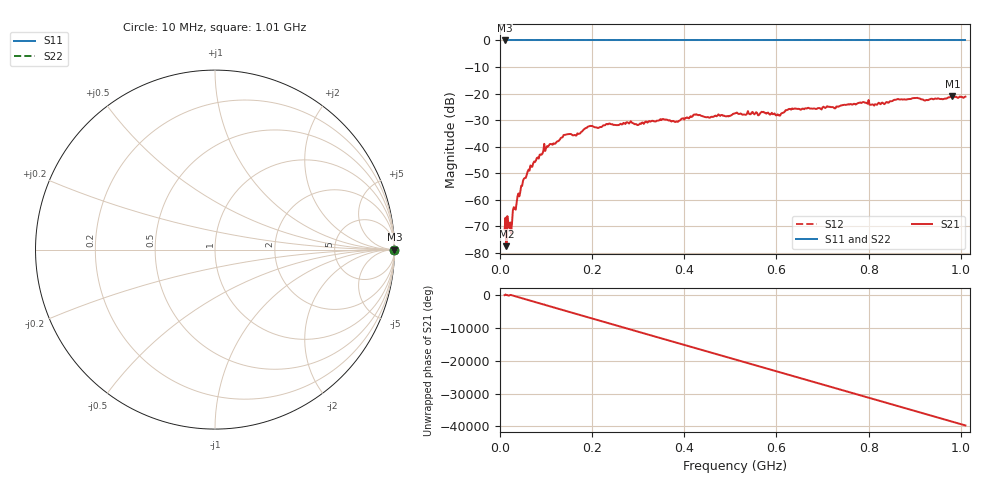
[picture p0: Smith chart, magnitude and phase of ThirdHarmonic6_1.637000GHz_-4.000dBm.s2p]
! 8/16/2025 7:34:25 PM
! C:\ANRITSUVNA\TEMP\TEMP.S2P
! CHANNEL.1
! TR.MEASUREMENT
! RAW.DATA
! RF.CORRECTION.OFF
! AVERAGING.OFF
! IF.BANDWIDTH: 5KHZ
! SWEEPTYPE:  FREQ.SWEEP(Linear)
! Reference Plane Port Info
! PORT:  PORT1  PORT2
! DISTANCE:  0  m  0  m
! TIME:  0  s  0  s
! PHASE.OFFSET:  0  deg.  0  deg.
! LOSS:  0  dB  0  dB
! REF.LOSS:  0  dB  0  dB
! REF.FREQ:  0  Hz  0  Hz
! Power Info
! POWER:  -20  dBm  -20  dBm
! EFF.POWER:  -20  dBm  -20  dBm
! SOURCE.ATTEN:  0  dB  0  dB
! TEST.ATTEN:  0  dB  0  dB
# GHZ S RI R 50.0
! FREQ.GHZ  S11RE  S11IM  S21RE  S21IM  S12RE  S12IM  S22RE  S22IM
!; PortSelection: Port_12
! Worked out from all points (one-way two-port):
!   501 points, 10 MHz to 1.01 GHz, reference 50 ohm
!   highest |S21| = -21.08 dB at 982 MHz (marker M1); lowest = -77.5 dB at 14 MHz (marker M2)
!   lowest |S11| = 0.0 dB at 10 MHz (marker M3)
!   |S11| at or under -10 dB: nowhere
!   |S22| runs from 0.0 to 0.0 dB; largest |S21 - S12| = 1.1
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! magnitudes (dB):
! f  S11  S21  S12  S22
! 10 MHz  0.0  -71.3  0.0  0.0
! 14 MHz  0.0  -77.5  0.0  0.0
! 22 MHz  0.0  -68.6  0.0  0.0
! 32 MHz  0.0  -63.3  0.0  0.0
! 50 MHz  0.0  -52.8  0.0  0.0
! 64 MHz  0.0  -49.0  0.0  0.0
! 92 MHz  0.0  -42.7  0.0  0.0
! 142 MHz  0.0  -35.5  0.0  0.0
! 178 MHz  0.0  -34.3  0.0  0.0
! 196 MHz  0.0  -32.2  0.0  0.0
! 298 MHz  0.0  -31.9  0.0  0.0
! 344 MHz  0.0  -30.2  0.0  0.0
! 384 MHz  0.0  -30.5  0.0  0.0
! 424 MHz  0.0  -28.0  0.0  0.0
! 452 MHz  0.0  -28.9  0.0  0.0
! 510 MHz  0.0  -27.4  0.0  0.0
! 604 MHz  0.0  -28.0  0.0  0.0
! 630 MHz  0.0  -25.9  0.0  0.0
! 678 MHz  0.0  -25.7  0.0  0.0
! 844 MHz  0.0  -23.4  0.0  0.0
! 982 MHz  0.0  -21.1  0.0  0.0
! 1.01 GHz  0.0  -21.2  0.0  0.0
